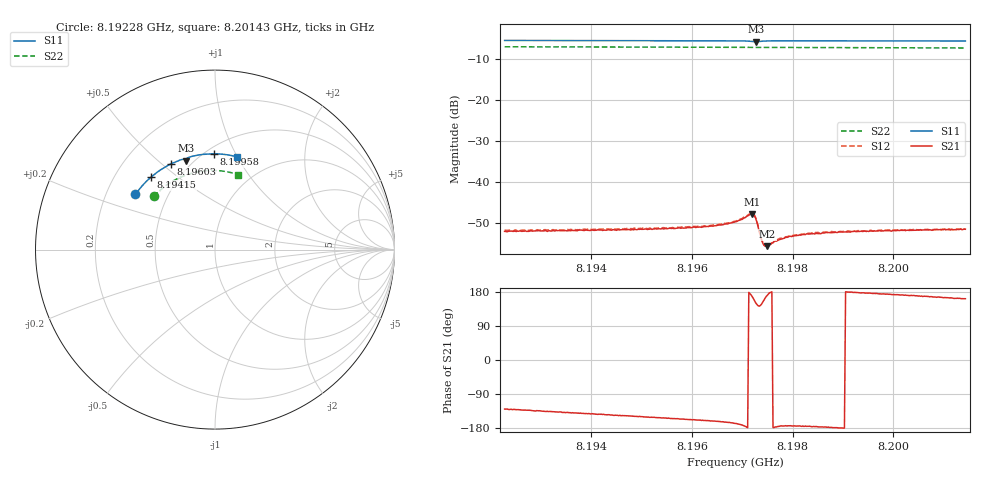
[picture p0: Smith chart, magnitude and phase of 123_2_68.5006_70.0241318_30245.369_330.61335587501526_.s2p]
#  HZ  S  RI  R  50.00
! Rohde & Schwarz Vector Network Analyzer
! Rohde-Schwarz,ZNB20-2Port,1311601062101988,3.16
! Created: UTC 3/20/2024, 4:54:03 PM
! freq[Hz]  re:S11  im:S11  re:S21  im:S21  re:S12  im:S12  re:S22  im:S22
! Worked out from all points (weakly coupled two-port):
!   401 points, 8.19228 GHz to 8.20143 GHz, reference 50 ohm
!   highest |S21| = -47.91 dB at 8.1972 GHz (marker M1); lowest = -55.7 dB at 8.1975 GHz (marker M2)
!   lowest |S11| = -5.7 dB at 8.19727 GHz (marker M3), VSWR 3.18, Z = 22.8 + j31.1 ohm
!   |S11| at or under -10 dB: nowhere
!   |S22| runs from -7.2 to -6.9 dB; largest |S21 - S12| = 0.00022
!   S11 on the Smith chart (normalised r, x): 8.19228 GHz: 0.33, +0.28; 8.19415 GHz: 0.35, +0.40; 8.19603 GHz: 0.40, +0.54; 8.19958 GHz: 0.55, +0.82; 8.20143 GHz: 0.69, +1.00
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8.192277e9  -0.4439 0.3073  -0.00158 -0.00192  -0.00168 -0.00191  -0.3413 0.2959
8.193811e9  -0.3732 0.3887  -0.00199 -0.00162  -0.00206 -0.00159  -0.2782 0.3533
8.194154e9  -0.3552 0.4049  -0.00205 -0.00156  -0.00217 -0.00152  -0.2627 0.3643
8.195344e9  -0.2874 0.4544  -0.00237 -0.00125  -0.00246 -0.00118  -0.2051 0.3976
8.196031e9  -0.2447 0.478  -0.00259 -0.00108  -0.00267 -0.000996  -0.1698 0.4128
8.196465e9  -0.2161 0.491  -0.00276 -0.000918  -0.00286 -0.000814  -0.1468 0.4207
8.196854e9  -0.1885 0.5008  -0.00317 -0.000724  -0.00325 -0.000578  -0.1258 0.4269
8.197015e9  -0.1758 0.5033  -0.00353 -0.000458  -0.00364 -0.000328  -0.117 0.4289
8.197129e9  -0.1657 0.5026  -0.00393 0.000119  -0.00401 0.000265  -0.1108 0.4303
8.197198e9  -0.1608 0.4994  -0.00392 0.000919  -0.00399 0.00109  -0.1069 0.4311
8.197243e9  -0.1603 0.4968  -0.0035 0.00153  -0.00353 0.00171  -0.1045 0.4315
8.197266e9  -0.161 0.4959  -0.00312 0.00175  -0.00311 0.00188  -0.1033 0.4317
8.197358e9  -0.1633 0.5004  -0.00176 0.00129  -0.00178 0.00141  -0.0985 0.4329
8.197404e9  -0.1616 0.504  -0.00159 0.000832  -0.0016 0.000935  -0.0959 0.4334
8.197449e9  -0.1587 0.507  -0.00156 0.000493  -0.00158 0.000567  -0.0934 0.4339
8.197495e9  -0.1554 0.5095  -0.00161 0.000269  -0.00164 0.00033  -0.091 0.4345
8.197701e9  -0.1396 0.5161  -0.00192 -0.000152  -0.00197 -7.57e-05  -0.0794 0.4363
8.197907e9  -0.1246 0.5204  -0.0021 -0.000236  -0.00215 -0.000145  -0.068 0.438
8.198388e9  -0.0902 0.5273  -0.00231 -0.000153  -0.00239 -9.12e-05  -0.0409 0.4404
8.199578e9  -0.00561 0.5337  -0.0025 0.000181  -0.00251 0.000266  0.0264 0.4392
8.199921e9  0.0186 0.5329  -0.00252 0.000285  -0.00255 0.000431  0.0459 0.437
8.201432e9  0.1241 0.5168  -0.0025 0.000829  -0.00245 0.000967  0.1291 0.4171
